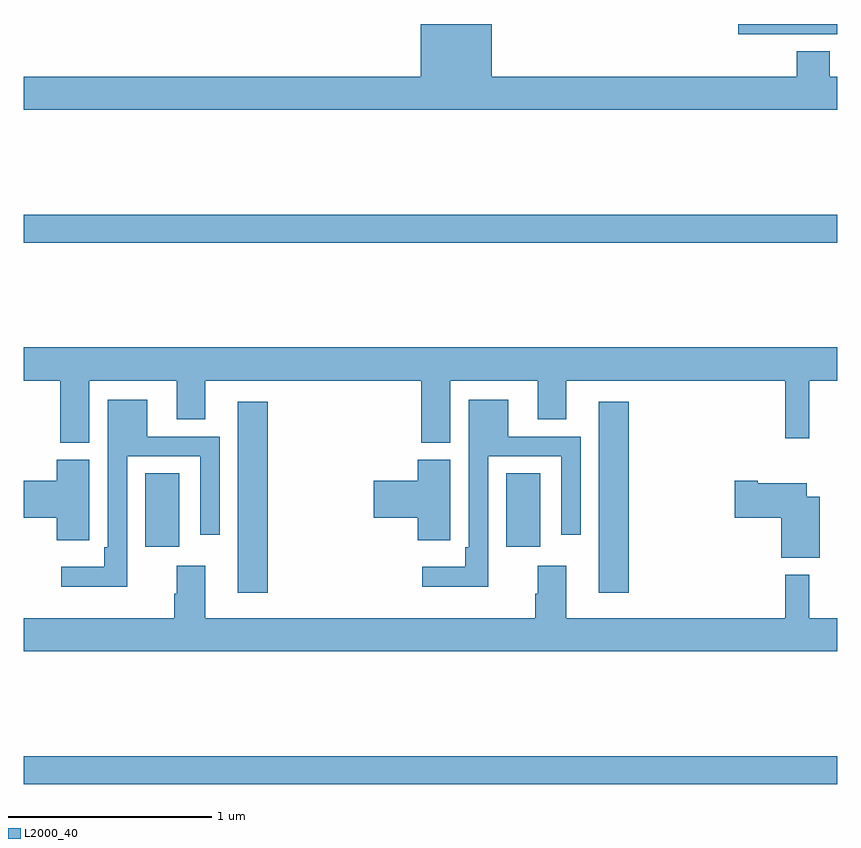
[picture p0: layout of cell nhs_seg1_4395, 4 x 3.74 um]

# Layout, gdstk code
import gdstk
lib = gdstk.Library(unit=1e-6, precision=1e-09)
def R(c, l, rs):  # rectangles x0, y0, x1, y1
    for r in rs: c.add(gdstk.rectangle(r[:2], r[2:], *l))
def P(c, l, *ps):  # polygons
    for p in ps: c.add(gdstk.Polygon(p, *l))
L2000_40 = (2000, 40)

nhs_seg1_4395 = lib.new_cell('nhs_seg1_4395')
R(nhs_seg1_4395, L2000_40, [(351,504.46,355,504.596), (352.052,505.401,352.199,506.341), (353.828,505.401,353.975,506.341), (351.596,505.626,351.763,505.988), (353.372,505.626,353.539,505.988), (351,507.124,355,507.26), (354.513,508.149,355,508.199)])
P(nhs_seg1_4395, L2000_40, [(355,507.94),(354.963,507.94),(354.963,508.064),(354.803,508.064),(354.803,507.94),(353.302,507.94),(353.302,508.199),(352.952,508.199),(352.952,507.94),(351,507.94),(351,507.776),(355,507.776)],
  [(351.322,506.444),(351.752,506.444),(351.752,506.254),(351.892,506.254),(351.892,506.444),(352.955,506.444),(352.955,506.14),(353.098,506.14),(353.098,506.444),(353.528,506.444),(353.528,506.254),(353.668,506.254),(353.668,506.444),(354.745,506.444),(354.745,506.16),(354.863,506.16),(354.863,506.444),(355,506.444),(355,506.608),(351,506.608),(351,506.444),(351.179,506.444),(351.179,506.14),(351.322,506.14)],
  [(351.507,506.073),(351.867,506.073),(351.867,505.686),(351.963,505.686),(351.963,506.169),(351.607,506.169),(351.607,506.35),(351.411,506.35),(351.411,505.624),(351.395,505.624),(351.395,505.528),(351.183,505.528),(351.183,505.43),(351.507,505.43)],
  [(353.283,506.073),(353.643,506.073),(353.643,505.686),(353.739,505.686),(353.739,506.169),(353.383,506.169),(353.383,506.35),(353.187,506.35),(353.187,505.624),(353.171,505.624),(353.171,505.528),(352.959,505.528),(352.959,505.43),(353.283,505.43)],
  [(353.097,505.771),(353.098,505.771),(353.098,506.055),(352.937,506.055),(352.937,505.952),(352.722,505.952),(352.722,505.769),(352.937,505.769),(352.937,505.659),(353.097,505.659)],
  [(351.321,505.771),(351.322,505.771),(351.322,506.055),(351.161,506.055),(351.161,505.952),(351,505.952),(351,505.769),(351.161,505.769),(351.161,505.659),(351.321,505.659)],
  [(354.916,505.873),(354.85,505.873),(354.85,505.939),(354.61,505.939),(354.61,505.952),(354.498,505.952),(354.498,505.769),(354.725,505.769),(354.725,505.574),(354.916,505.574)],
  [(355,505.276),(354.863,505.276),(354.863,505.489),(354.745,505.489),(354.745,505.276),(353.668,505.276),(353.668,505.534),(353.528,505.534),(353.528,505.397),(353.516,505.397),(353.516,505.276),(351.892,505.276),(351.892,505.534),(351.752,505.534),(351.752,505.397),(351.74,505.397),(351.74,505.276),(351,505.276),(351,505.112),(355,505.112)])

lib.write_gds('nhs_seg1_4395.gds')
